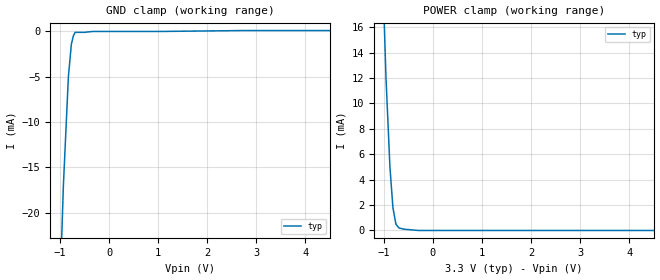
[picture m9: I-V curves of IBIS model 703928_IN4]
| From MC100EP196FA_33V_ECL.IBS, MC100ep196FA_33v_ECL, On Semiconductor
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| (C) COPYRIGHT 1993-2001
| MENTOR GRAPHICS CORPORATION
| ICX STANDARD LIBRARY, ICX PROJECT MODELING,
| ICX CUSTOM MODELING, ICX VENDOR MODEL
| ALL RIGHTS RESERVED.
| THE FOLLOWING ARE TRADEMARKS OR SERVICE MARKS OF
| MENTOR GRAPHICS CORPORATION:ICX (R), ICX STANDARD
| LIBRARY(R), ICX PROJECT MODELING(R), ICX CUSTOM
| MODELING(R), qualityIBIS(TM), MODELVIEWER(TM),
| AND MODELEDITOR(TM)
| ALL COPIES OF SOFTWARE, INCLUDING BUT NOT LIMITED TO
| ANY MODIFICATIONS, ENHANCEMENTS OR DERIVATIVE WORKS,
| MUST CONTAIN ALL MENTOR GRAPHICS CORPORATION'S
| NOTICES AND LEGENDS, INCLUDING THOSE EMBEDDED IN
| SOFTWARE AND THOSE AFFIXED TO SOFTWARE MEDIUM
| AND CONTAINER, AS RECEIVED FROM MENTOR GRAPHICS
| CORPORATION.
| Model Application Version 1.89 2/18/99.
[Model] 703928_IN4
Model_type Input_ECL
Vinl = 1.755V
Vinh = 2.155V
C_comp 4.000pF NA NA
| variable typ   min   max
[Voltage Range] 3.300V NA NA
[GND Clamp Reference] 0.000V NA NA
[POWER Clamp Reference] 3.300V NA NA
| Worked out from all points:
|   GND clamp passes 1 mA (typ) near -0.75 V on its own axis
|   POWER clamp passes 1 mA (typ) near -0.78 V on its own axis
[GND Clamp]
-3.3V     -525.3mA   NA         NA
-1.054V   -37.3mA    NA         NA
-932mV    -16.9mA    NA         NA
-831mV    -5mA       NA         NA
-770mV    -1.4mA     NA         NA
-730mV    -500uA     NA         NA
-694.3mV  -100uA     NA         NA
-511.8mV  -100uA     NA         NA
-329.3mV  0A         NA         NA
1.054V    0A         NA         NA
2.736V    100uA      NA         NA
6.6V      100uA      NA         NA
[POWER Clamp]
-3.3V     384.1mA    NA         NA
-1.443V   78.9mA     NA         NA
-1.18V    39.5mA     NA         NA
-957mV    12.1mA     NA         NA
-876mV    5mA        NA         NA
-815mV    1.8mA      NA         NA
-754mV    500uA      NA         NA
-693mV    200uA      NA         NA
-592mV    100uA      NA         NA
-296mV    0A         NA         NA
6.6V      0A         NA         NA
